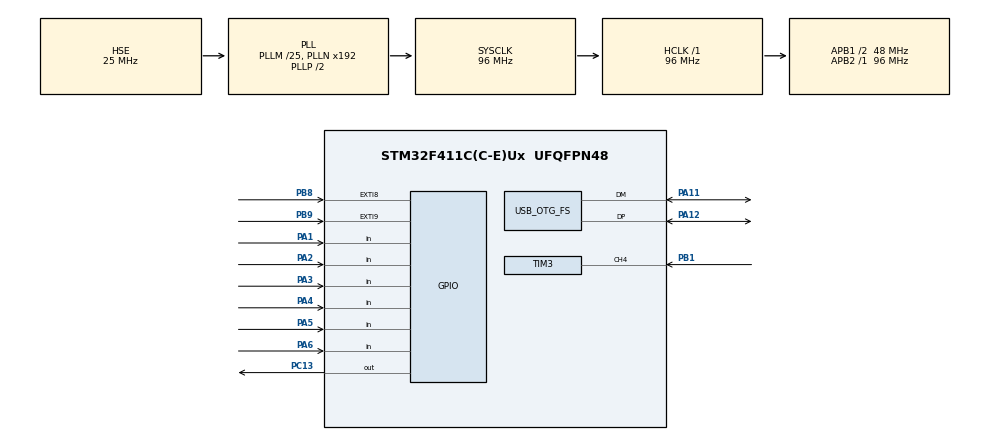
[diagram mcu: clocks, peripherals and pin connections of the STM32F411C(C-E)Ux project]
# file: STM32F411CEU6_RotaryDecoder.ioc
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Dma.Request0=TIM3_CH4/UP
Dma.TIM3_CH4/UP.0.Direction=DMA_PERIPH_TO_MEMORY
Dma.TIM3_CH4/UP.0.FIFOMode=DMA_FIFOMODE_ENABLE
Dma.TIM3_CH4/UP.0.FIFOThreshold=DMA_FIFO_THRESHOLD_1QUARTERFULL
Dma.TIM3_CH4/UP.0.Instance=DMA1_Stream2
Dma.TIM3_CH4/UP.0.MemBurst=DMA_MBURST_SINGLE
Dma.TIM3_CH4/UP.0.MemDataAlignment=DMA_MDATAALIGN_BYTE
Dma.TIM3_CH4/UP.0.MemInc=DMA_MINC_ENABLE
Dma.TIM3_CH4/UP.0.Mode=DMA_CIRCULAR
Dma.TIM3_CH4/UP.0.PeriphBurst=DMA_PBURST_SINGLE
Dma.TIM3_CH4/UP.0.PeriphDataAlignment=DMA_PDATAALIGN_BYTE
Dma.TIM3_CH4/UP.0.PeriphInc=DMA_PINC_DISABLE
Dma.TIM3_CH4/UP.0.Priority=DMA_PRIORITY_LOW
Mcu.Family=STM32F4
Mcu.Name=STM32F411C(C-E)Ux
Mcu.Package=UFQFPN48
NVIC.DMA1_Stream2_IRQn=true\:0\:0\:false\:false\:true\:false\:true
NVIC.EXTI9_5_IRQn=true\:0\:0\:false\:false\:true\:true\:true
NVIC.OTG_FS_IRQn=true\:0\:0\:false\:false\:true\:false\:true
NVIC.PriorityGroup=NVIC_PRIORITYGROUP_4
NVIC.RCC_IRQn=true\:0\:0\:false\:false\:true\:true\:false
NVIC.TIM3_IRQn=true\:0\:0\:false\:false\:true\:true\:true
PA1.GPIO_PuPd=GPIO_PULLUP
PA1.Signal=GPIO_Input
PA11.Mode=Device_Only
PA11.Signal=USB_OTG_FS_DM
PA12.Mode=Device_Only
PA12.Signal=USB_OTG_FS_DP
PA13.Mode=Serial_Wire
PA13.Signal=SYS_JTMS-SWDIO
PA14.Mode=Serial_Wire
PA14.Signal=SYS_JTCK-SWCLK
PA2.GPIO_PuPd=GPIO_PULLUP
PA2.Signal=GPIO_Input
PA3.GPIO_PuPd=GPIO_PULLUP
PA3.Signal=GPIO_Input
PA4.GPIO_PuPd=GPIO_PULLUP
PA4.Signal=GPIO_Input
PA5.GPIO_PuPd=GPIO_PULLUP
PA5.Signal=GPIO_Input
PA6.GPIO_PuPd=GPIO_PULLUP
PA6.Signal=GPIO_Input
PB1.Signal=S_TIM3_CH4
PB8.GPIO_ModeDefaultEXTI=GPIO_MODE_IT_RISING_FALLING
PB8.Signal=GPXTI8
PB9.GPIO_ModeDefaultEXTI=GPIO_MODE_IT_RISING_FALLING
PB9.Signal=GPXTI9
PC13-ANTI_TAMP.GPIO_ModeDefaultOutputPP=GPIO_MODE_OUTPUT_OD
PC13-ANTI_TAMP.Signal=GPIO_Output
PC14-OSC32_IN.Mode=LSE-External-Oscillator
PC14-OSC32_IN.Signal=RCC_OSC32_IN
PC15-OSC32_OUT.Mode=LSE-External-Oscillator
PC15-OSC32_OUT.Signal=RCC_OSC32_OUT
PH0\ -\ OSC_IN.Mode=HSE-External-Oscillator
PH0\ -\ OSC_IN.Signal=RCC_OSC_IN
PH1\ -\ OSC_OUT.Mode=HSE-External-Oscillator
PH1\ -\ OSC_OUT.Signal=RCC_OSC_OUT
ProjectManager.HeapSize=0x200
ProjectManager.StackSize=0x400
ProjectManager.TargetToolchain=STM32CubeIDE
RCC.48MHZClocksFreq_Value=48000000
RCC.AHBFreq_Value=96000000
RCC.APB1CLKDivider=RCC_HCLK_DIV2
RCC.APB1Freq_Value=48000000
RCC.APB1TimFreq_Value=96000000
RCC.APB2Freq_Value=96000000
RCC.APB2TimFreq_Value=96000000
RCC.CortexFreq_Value=96000000
RCC.HCLKFreq_Value=96000000
RCC.HSE_VALUE=25000000
RCC.HSI_VALUE=16000000
RCC.PLLM=25
RCC.SYSCLKFreq_VALUE=96000000
RCC.SYSCLKSource=RCC_SYSCLKSOURCE_PLLCLK
RCC.VCOOutputFreq_Value=192000000
SH.S_TIM3_CH4.0=TIM3_CH4,Input_Capture4_from_TI4
TIM3.Channel-Input_Capture4_from_TI4=TIM_CHANNEL_4
USB_DEVICE.CLASS_NAME_FS=CUSTOM_HID
USB_DEVICE.MANUFACTURER_STRING=Maksym Veremeyenko
USB_DEVICE.PID_CUSTOMHID_FS=32849
USB_DEVICE.PRODUCT_STRING_CUSTOMHID_FS=Lens Rotary Decoder
USB_DEVICE.USBD_CUSTOMHID_OUTREPORT_BUF_SIZE=8
USB_DEVICE.USBD_CUSTOM_HID_REPORT_DESC_SIZE=8
USB_DEVICE.VID=1204
USB_DEVICE.VirtualMode=CustomHid
USB_DEVICE.VirtualModeFS=Custom_Hid_FS
USB_OTG_FS.VirtualMode=Device_Only
VP_TIM3_VS_ClockSourceINT.Mode=Internal
VP_USB_DEVICE_VS_USB_DEVICE_CUSTOM_HID_FS.Mode=CUSTOM_HID_FS
board=custom

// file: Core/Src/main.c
/* USER CODE BEGIN Header */
/**
  ******************************************************************************
  * @file           : main.c
  * @brief          : Main program body
  ******************************************************************************
  * @attention
  *
  * <h2><center>&copy; Copyright (c) 2021 STMicroelectronics.
  * All rights reserved.</center></h2>
  *
  * This software component is licensed by ST under BSD 3-Clause license,
  * the "License"; You may not use this file except in compliance with the
  * License. You may obtain a copy of the License at:
  *                        opensource.org/licenses/BSD-3-Clause
  *
  ******************************************************************************
  */
/* USER CODE END Header */
#include "main.h"
#include "usb_device.h"

/* USER CODE BEGIN Includes */
#include "usbd_customhid.h"
/* USER CODE END Includes */

TIM_HandleTypeDef htim3;
DMA_HandleTypeDef hdma_tim3_ch4_up;

void SystemClock_Config(void);
static void MX_GPIO_Init(void);
static void MX_DMA_Init(void);
static void MX_TIM3_Init(void);

/* USER CODE BEGIN 0 */
extern USBD_HandleTypeDef hUsbDeviceFS;

static struct
{
	uint8_t s1, s2, rot;
	int32_t value;
} instance;

int8_t CUSTOM_HID_OutEvent_FS_main(uint8_t* buf)
{
	instance.s1 = buf[0];
	instance.s2 = buf[1];

	instance.value = buf[2];
	instance.value <<= 8;
	instance.value |= buf[3];
	instance.value <<= 8;
	instance.value |= buf[4];
	instance.value <<= 8;
	instance.value |= buf[5];

	return (USBD_OK);
};

void HAL_GPIO_EXTI_Callback(uint16_t GPIO_Pin)
{
	if(GPIO_Pin != GPIO_PIN_9 && GPIO_Pin != GPIO_PIN_8)
		return;

/*
 * CW
 *
 * 00	10
 * 01	00
 * 10	11
 * 11	01
 *
 * CCW
 *
 * 00	01
 * 01	11
 * 10	00
 * 11	10
 *
 * MAP
 *
 * 00	00	 0
 * 00	01	-1
 * 00	10	+1
 * 00	11	 0
 * 01	00	+1
 * 01	01	 0
 * 01	10	 0
 * 01	11	-1
 * 10	00	-1
 * 10	01	 0
 * 10	10	 0
 * 10	11	+1
 * 11	00	 0
 * 11	01	+1
 * 11	10	-1
 * 11	11	 0
 *
 */

	static const int8_t r[16] = { 0, -1, 1, 0, 1, 0, 0, -1, -1, 0, 0, 1, 0, 1, -1, 0 };

	instance.rot <<= 1;
	instance.rot |= HAL_GPIO_ReadPin(GPIOB, GPIO_PIN_8);
	instance.rot <<= 1;
	instance.rot |= HAL_GPIO_ReadPin(GPIOB, GPIO_PIN_9);

	instance.value += r[ instance.rot & 0x0F ];
};

/* USER CODE END 0 */

int main(void)
{
  /* USER CODE BEGIN 1 */
	int led_cnt = 0;
  /* USER CODE END 1 */

  /* MCU Configuration--------------------------------------------------------*/

  /* Reset of all peripherals, Initializes the Flash interface and the Systick. */
  HAL_Init();

  /* Configure the system clock */
  SystemClock_Config();

  /* Initialize all configured peripherals */
  MX_GPIO_Init();
  MX_USB_DEVICE_Init();
  MX_DMA_Init();
  MX_TIM3_Init();

  /* Infinite loop */
  while (1)
  {

    /* USER CODE BEGIN 3 */
#if 1
	  uint8_t buf[8];

	  buf[0] = instance.s1;
	  buf[1] = instance.s2;
	  buf[2] = instance.value >> 24;
	  buf[3] = instance.value >> 16;
	  buf[4] = instance.value >>  8;
	  buf[5] = instance.value >>  0;

	  USBD_CUSTOM_HID_SendReport(&hUsbDeviceFS, buf, 6);
	  HAL_Delay(10);

	  if(!(led_cnt % 10))
		  HAL_GPIO_TogglePin(GPIOC, GPIO_PIN_13);
	  led_cnt++;
#else	// performance test mode
	  int i, s;
	  HAL_GPIO_TogglePin(GPIOC, GPIO_PIN_13);
	  for(s = 0, i = 0; i < 8000000; i++)
		  s += GPIOB->IDR;
#endif
  }
  /* USER CODE END 3 */
}

void SystemClock_Config(void)
{
  RCC_OscInitTypeDef RCC_OscInitStruct = {0};
  RCC_ClkInitTypeDef RCC_ClkInitStruct = {0};

  /** Configure the main internal regulator output voltage
  */
  __HAL_RCC_PWR_CLK_ENABLE();
  __HAL_PWR_VOLTAGESCALING_CONFIG(PWR_REGULATOR_VOLTAGE_SCALE1);
  /** Initializes the RCC Oscillators according to the specified parameters
  * in the RCC_OscInitTypeDef structure.
  */
  RCC_OscInitStruct.OscillatorType = RCC_OSCILLATORTYPE_HSE;
  RCC_OscInitStruct.HSEState = RCC_HSE_ON;
  RCC_OscInitStruct.PLL.PLLState = RCC_PLL_ON;
  RCC_OscInitStruct.PLL.PLLSource = RCC_PLLSOURCE_HSE;
  RCC_OscInitStruct.PLL.PLLM = 25;
  RCC_OscInitStruct.PLL.PLLN = 192;
  RCC_OscInitStruct.PLL.PLLP = RCC_PLLP_DIV2;
  RCC_OscInitStruct.PLL.PLLQ = 4;
  if (HAL_RCC_OscConfig(&RCC_OscInitStruct) != HAL_OK)
  {
    Error_Handler();
  }
  /** Initializes the CPU, AHB and APB buses clocks
  */
  RCC_ClkInitStruct.ClockType = RCC_CLOCKTYPE_HCLK|RCC_CLOCKTYPE_SYSCLK
                              |RCC_CLOCKTYPE_PCLK1|RCC_CLOCKTYPE_PCLK2;
  RCC_ClkInitStruct.SYSCLKSource = RCC_SYSCLKSOURCE_PLLCLK;
  RCC_ClkInitStruct.AHBCLKDivider = RCC_SYSCLK_DIV1;
  RCC_ClkInitStruct.APB1CLKDivider = RCC_HCLK_DIV2;
  RCC_ClkInitStruct.APB2CLKDivider = RCC_HCLK_DIV1;

  if (HAL_RCC_ClockConfig(&RCC_ClkInitStruct, FLASH_LATENCY_3) != HAL_OK)
  {
    Error_Handler();
  }
}

static void MX_TIM3_Init(void)
{

  TIM_ClockConfigTypeDef sClockSourceConfig = {0};
  TIM_MasterConfigTypeDef sMasterConfig = {0};
  TIM_IC_InitTypeDef sConfigIC = {0};

  htim3.Instance = TIM3;
  htim3.Init.Prescaler = 0;
  htim3.Init.CounterMode = TIM_COUNTERMODE_UP;
  htim3.Init.Period = 65535;
  htim3.Init.ClockDivision = TIM_CLOCKDIVISION_DIV1;
  htim3.Init.AutoReloadPreload = TIM_AUTORELOAD_PRELOAD_DISABLE;
  if (HAL_TIM_Base_Init(&htim3) != HAL_OK)
  {
    Error_Handler();
  }
  sClockSourceConfig.ClockSource = TIM_CLOCKSOURCE_INTERNAL;
  if (HAL_TIM_ConfigClockSource(&htim3, &sClockSourceConfig) != HAL_OK)
  {
    Error_Handler();
  }
  if (HAL_TIM_IC_Init(&htim3) != HAL_OK)
  {
    Error_Handler();
  }
  sMasterConfig.MasterOutputTrigger = TIM_TRGO_RESET;
  sMasterConfig.MasterSlaveMode = TIM_MASTERSLAVEMODE_DISABLE;
  if (HAL_TIMEx_MasterConfigSynchronization(&htim3, &sMasterConfig) != HAL_OK)
  {
    Error_Handler();
  }
  sConfigIC.ICPolarity = TIM_INPUTCHANNELPOLARITY_RISING;
  sConfigIC.ICSelection = TIM_ICSELECTION_DIRECTTI;
  sConfigIC.ICPrescaler = TIM_ICPSC_DIV1;
  sConfigIC.ICFilter = 0;
  if (HAL_TIM_IC_ConfigChannel(&htim3, &sConfigIC, TIM_CHANNEL_4) != HAL_OK)
  {
    Error_Handler();
  }

}

static void MX_DMA_Init(void)
{

  /* DMA controller clock enable */
  __HAL_RCC_DMA1_CLK_ENABLE();

  /* DMA interrupt init */
  /* DMA1_Stream2_IRQn interrupt configuration */
  HAL_NVIC_SetPriority(DMA1_Stream2_IRQn, 0, 0);
  HAL_NVIC_EnableIRQ(DMA1_Stream2_IRQn);

}

static void MX_GPIO_Init(void)
{
  GPIO_InitTypeDef GPIO_InitStruct = {0};

  /* GPIO Ports Clock Enable */
  __HAL_RCC_GPIOC_CLK_ENABLE();
  __HAL_RCC_GPIOH_CLK_ENABLE();
  __HAL_RCC_GPIOA_CLK_ENABLE();
  __HAL_RCC_GPIOB_CLK_ENABLE();

  /*Configure GPIO pin Output Level */
  HAL_GPIO_WritePin(GPIOC, GPIO_PIN_13, GPIO_PIN_RESET);

  /*Configure GPIO pin : PC13 */
  GPIO_InitStruct.Pin = GPIO_PIN_13;
  GPIO_InitStruct.Mode = GPIO_MODE_OUTPUT_OD;
  GPIO_InitStruct.Pull = GPIO_NOPULL;
  GPIO_InitStruct.Speed = GPIO_SPEED_FREQ_LOW;
  HAL_GPIO_Init(GPIOC, &GPIO_InitStruct);

  /*Configure GPIO pins : PA1 PA2 PA3 PA4
                           PA5 PA6 */
  GPIO_InitStruct.Pin = GPIO_PIN_1|GPIO_PIN_2|GPIO_PIN_3|GPIO_PIN_4
                          |GPIO_PIN_5|GPIO_PIN_6;
  GPIO_InitStruct.Mode = GPIO_MODE_INPUT;
  GPIO_InitStruct.Pull = GPIO_PULLUP;
  HAL_GPIO_Init(GPIOA, &GPIO_InitStruct);

  /*Configure GPIO pins : PB8 PB9 */
  GPIO_InitStruct.Pin = GPIO_PIN_8|GPIO_PIN_9;
  GPIO_InitStruct.Mode = GPIO_MODE_IT_RISING_FALLING;
  GPIO_InitStruct.Pull = GPIO_PULLUP; //GPIO_NOPULL;
  HAL_GPIO_Init(GPIOB, &GPIO_InitStruct);

  /* EXTI interrupt init*/
  HAL_NVIC_SetPriority(EXTI9_5_IRQn, 0, 0);
  HAL_NVIC_EnableIRQ(EXTI9_5_IRQn);

}

void Error_Handler(void)
{
  __disable_irq();
  while (1)
  {
  }
}
